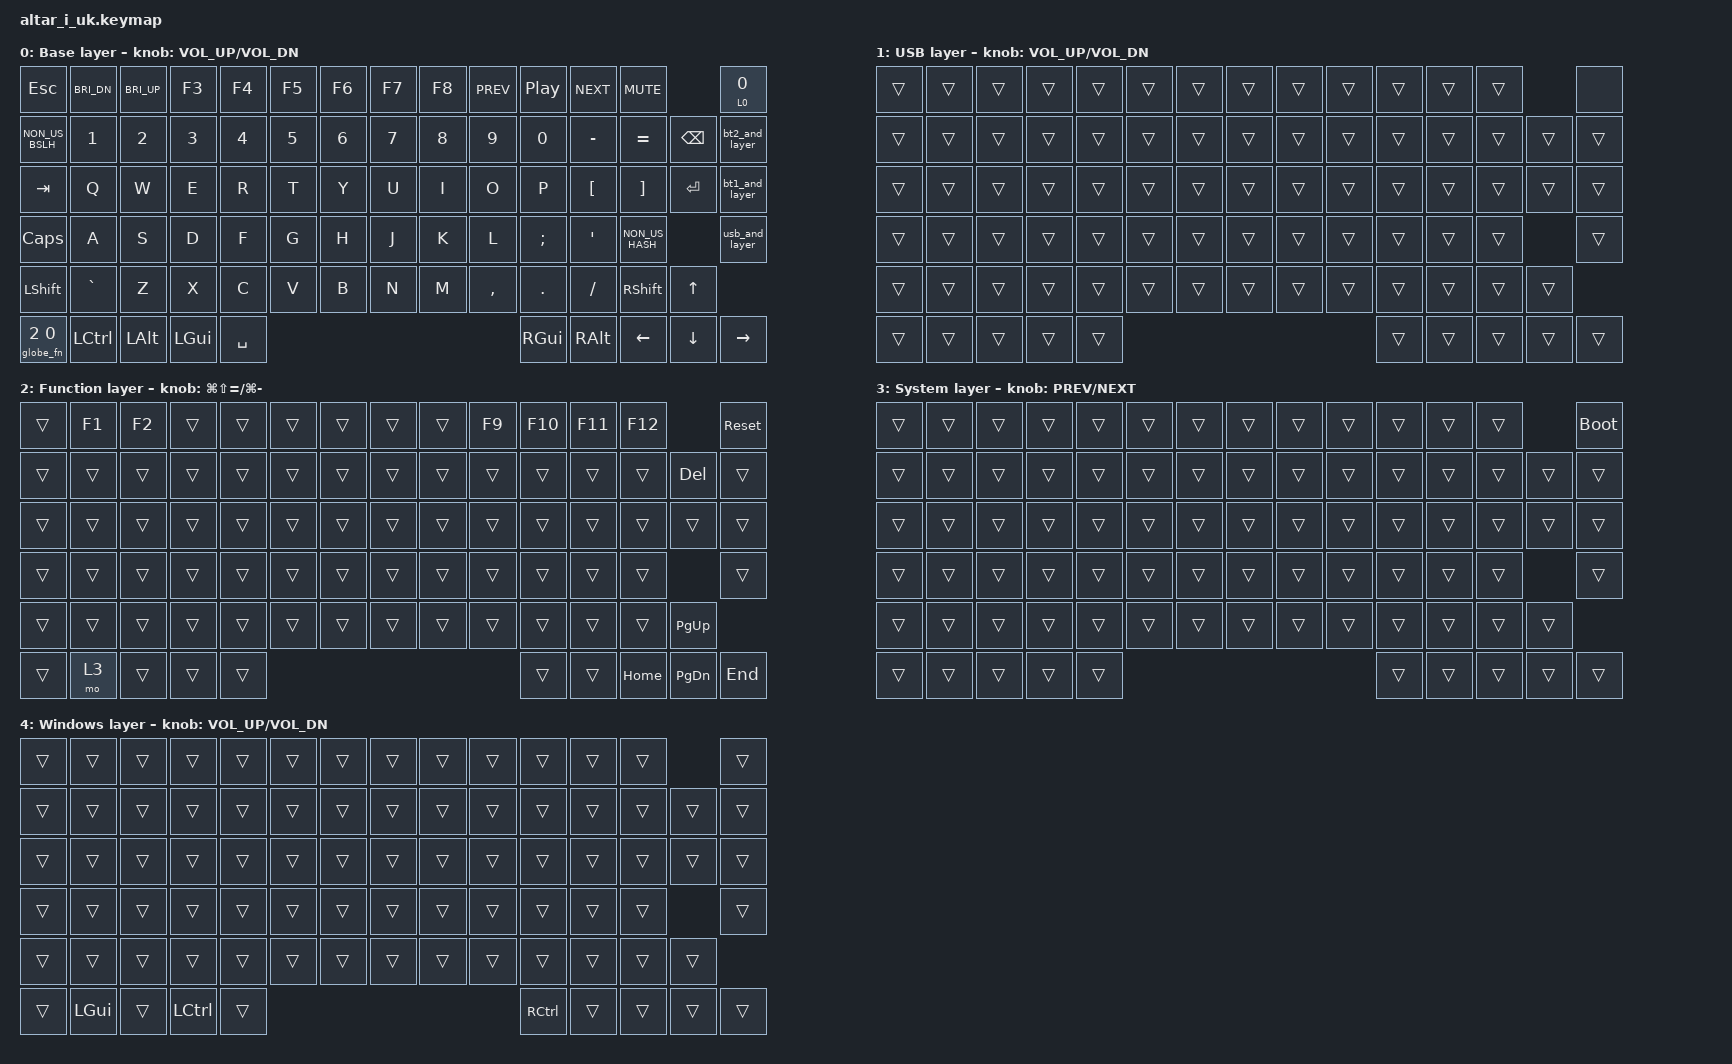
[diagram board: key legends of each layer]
/*
 * Copyright (c) 2025 Electronic Materials Office Limited
 *
 * SPDX-License-Identifier: MIT
 */

#include <behaviors.dtsi>
#include <dt-bindings/zmk/keys.h>
#include <dt-bindings/zmk/bt.h>
#include <dt-bindings/zmk/outputs.h>
#include "altar_i_keymap_common.dtsi"

/ {
    combos {
        compatible = "zmk,combos";
        combo_esc {
            timeout-ms = <50>;
            key-positions = <73 75 42>;
            bindings = <&tog 4>;
        };
    };

	keymap {
		compatible = "zmk,keymap";

		default_layer {
			display-name = "Base layer";
			// ---------------------------------------------------------------------------------------------------------
			// | ESC   | BRI_DN| BRI_UP| F3    | F4    | F5    | F6    | F7    | F8    | PREV  | P/P   | NEXT  | MUTE  |                       PAIR |
			// | ~     | 1     | 2     | 3     | 4     | 5     | 6     | 7     | 8     | 9     | 0     | -     |  =    | BSPC  |               BT2  |
			// | TAB   | Q     | W     | E     | R     | T     | Y     | U     | I     | O     | P     | [     |  ]    | ENTER |               BT1  |
			// | CAPS  | A     | S     | D     | F     | G     | H     | J     | K     | L     | ;     | '     | NUHS  |       |               USB  |
			// | SHIFT | NUBS  | Z     | X     | C     | V     | B     | N     | M     | ,     | .     | /     | SHFT  | UP    |
			// | FN1   | CTRL  | ALT   | WIN   |                 SPACE                         | WIN   | ALT   | LFT   | DWN   | RGT   |

			bindings = <
			&kp ESC          &kp C_BRI_DN     &kp C_BRI_UP     &kp F3        &kp F4        &kp F5           &kp F6           &kp F7           &kp F8           &kp C_PREV       &kp C_PLAY_PAUSE &kp C_NEXT       &kp C_MUTE                                      &ht_bt_clr 0 0
			&kp NON_US_BSLH  &kp N1           &kp N2           &kp N3        &kp N4        &kp N5           &kp N6           &kp N7           &kp N8           &kp N9           &kp N0           &kp MINUS        &kp EQUAL        &kp BSPC                       &bt2_and_layer
			&kp TAB          &kp Q            &kp W            &kp E         &kp R         &kp T            &kp Y            &kp U            &kp I            &kp O            &kp P            &kp LBKT         &kp RBKT         &kp ENTER                      &bt1_and_layer
			&kp CAPS         &kp A            &kp S            &kp D         &kp F         &kp G            &kp H            &kp J            &kp K            &kp L            &kp SEMI         &kp SQT          &kp NON_US_HASH                                 &usb_and_layer
			&kp LSHIFT       &kp GRAVE        &kp Z            &kp X         &kp C         &kp V            &kp B            &kp N            &kp M            &kp COMMA        &kp  DOT         &kp FSLH         &kp RSHIFT       &kp UP
			&globe_fn 2 0    &kp LCTRL        &kp LALT         &kp LGUI                                     &kp SPACE                                                           &kp  RGUI        &kp RALT         &kp LEFT         &kp DOWN         &kp RIGHT
			>;

			sensor-bindings = <&inc_dec_kp C_VOL_UP C_VOL_DN>;
		};

		usb_layer {
			display-name = "USB layer";
			// ---------------------------------------------------------------------------------------------------------
			// |       |       |       |       |       |       |       |       |       |       |       |       |       |                      NONE  |
			// |       |       |       |       |       |       |       |       |       |       |       |       |       |       |                    |
			// |       |       |       |       |       |       |       |       |       |       |       |       |       |       |                    |
			// |       |       |       |       |       |       |       |       |       |       |       |       |       |       |                    |
			// |       |       |       |       |       |       |       |       |       |       |       |       |       |       |
			// |       |       |       |       |                                               |       |       |       |       |       |

			bindings = <
			&trans           &trans           &trans           &trans        &trans        &trans           &trans           &trans           &trans           &trans           &trans           &trans           &trans                                          &none
			&trans           &trans           &trans           &trans        &trans        &trans           &trans           &trans           &trans           &trans           &trans           &trans           &trans           &trans                         &trans
			&trans           &trans           &trans           &trans        &trans        &trans           &trans           &trans           &trans           &trans           &trans           &trans           &trans           &trans                         &trans
			&trans           &trans           &trans           &trans        &trans        &trans           &trans           &trans           &trans           &trans           &trans           &trans           &trans                                          &trans
			&trans           &trans           &trans           &trans        &trans        &trans           &trans           &trans           &trans           &trans           &trans           &trans           &trans           &trans
			&trans           &trans           &trans           &trans                                       &trans                                                              &trans           &trans           &trans           &trans           &trans
			>;

			sensor-bindings = <&inc_dec_kp C_VOL_UP C_VOL_DN>;
		};

		fn_layer {
			display-name = "Function layer";
			// ---------------------------------------------------------------------------------------------------------
			// |       | F1    | F2    |       |       |       |       |       |       | F9    | F10   | F11   |  F12  |                            |
			// |       |       |       |       |       |       |       |       |       |       |       |       |       |       |                    |
			// |       |       |       |       |       |       |       |       |       |       |       |       |       |       |                    |
			// |       |       |       |       |       |       |       |       |       |       |       |       |       |       |              RESET |
			// |       |       |       |       |       |       |       |       |       |       |       |       |       |       |
			// |       | FN2   |       |       |                                               |       |       |       |       |       |

			bindings = <
			&trans           &kp F1           &kp F2           &trans        &trans        &trans           &trans           &trans           &trans           &kp F9           &kp F10          &kp F11          &kp F12                                         &sys_reset
			&trans           &trans           &trans           &trans        &trans        &trans           &trans           &trans           &trans           &trans           &trans           &trans           &trans           &kp DEL                        &trans
			&trans           &trans           &trans           &trans        &trans        &trans           &trans           &trans           &trans           &trans           &trans           &trans           &trans           &trans                         &trans
			&trans           &trans           &trans           &trans        &trans        &trans           &trans           &trans           &trans           &trans           &trans           &trans           &trans                                          &trans
			&trans           &trans           &trans           &trans        &trans        &trans           &trans           &trans           &trans           &trans           &trans           &trans           &trans           &kp PAGE_UP
			&trans           &mo 3            &trans           &trans                                       &trans                                                              &trans           &trans           &kp HOME         &kp PAGE_DOWN      &kp END
			>;

			sensor-bindings = <&inc_dec_kp LG(LS(EQUAL)) LG(MINUS)>;
		};

		sys_layer {
			display-name = "System layer";
			// ---------------------------------------------------------------------------------------------------------
			// |       |       |       |       |       |       |       |       |       |       |       |       |       |                            |
			// |       |       |       |       |       |       |       |       |       |       |       |       |       |       |                    |
			// |       |       |       |       |       |       |       |       |       |       |       |       |       |       |                    |
			// |       |       |       |       |       |       |       |       |       |       |       |       |       |       |         BOOTLOADER |
			// |       |       |       |       |       |       |       |       |       |       |       |       |       |       |
			// |       |       |       |       |                                               |       |       |       |       |       |

			bindings = <
			&trans           &trans           &trans           &trans        &trans        &trans           &trans           &trans           &trans           &trans           &trans           &trans           &trans                                          &bootloader
			&trans           &trans           &trans           &trans        &trans        &trans           &trans           &trans           &trans           &trans           &trans           &trans           &trans           &trans                         &trans
			&trans           &trans           &trans           &trans        &trans        &trans           &trans           &trans           &trans           &trans           &trans           &trans           &trans           &trans                         &trans
			&trans           &trans           &trans           &trans        &trans        &trans           &trans           &trans           &trans           &trans           &trans           &trans           &trans                                          &trans
			&trans           &trans           &trans           &trans        &trans        &trans           &trans           &trans           &trans           &trans           &trans           &trans           &trans           &trans
			&trans           &trans           &trans           &trans                                       &trans                                                              &trans           &trans           &trans           &trans           &trans
			>;

			sensor-bindings = <&inc_dec_kp C_PREV C_NEXT>;
		};

		windows_layer {
			display-name = "Windows layer";
			// ---------------------------------------------------------------------------------------------------------
			// |       |       |       |       |       |       |       |       |       |       |       |       |       |                            |
			// |       |       |       |       |       |       |       |       |       |       |       |       |       |       |                    |
			// |       |       |       |       |       |       |       |       |       |       |       |       |       |       |                    |
			// |       |       |       |       |       |       |       |       |       |       |       |       |       |       |                    |
			// |       |       |       |       |       |       |       |       |       |       |       |       |       |       |
			// |       |       |       |       |                                               |       |       |       |       |       |

			bindings = <
			&trans           &trans           &trans           &trans        &trans        &trans           &trans           &trans           &trans           &trans           &trans           &trans           &trans                                          &trans
			&trans           &trans           &trans           &trans        &trans        &trans           &trans           &trans           &trans           &trans           &trans           &trans           &trans           &trans                         &trans
			&trans           &trans           &trans           &trans        &trans        &trans           &trans           &trans           &trans           &trans           &trans           &trans           &trans           &trans                         &trans
			&trans           &trans           &trans           &trans        &trans        &trans           &trans           &trans           &trans           &trans           &trans           &trans           &trans                                          &trans
			&trans           &trans           &trans           &trans        &trans        &trans           &trans           &trans           &trans           &trans           &trans           &trans           &trans           &trans
			&trans           &kp LGUI         &trans           &kp LCTRL                                    &trans                                                              &kp RCTRL        &trans           &trans           &trans           &trans
			>;

			sensor-bindings = <&inc_dec_kp C_VOL_UP C_VOL_DN>;
		};
	};
};
